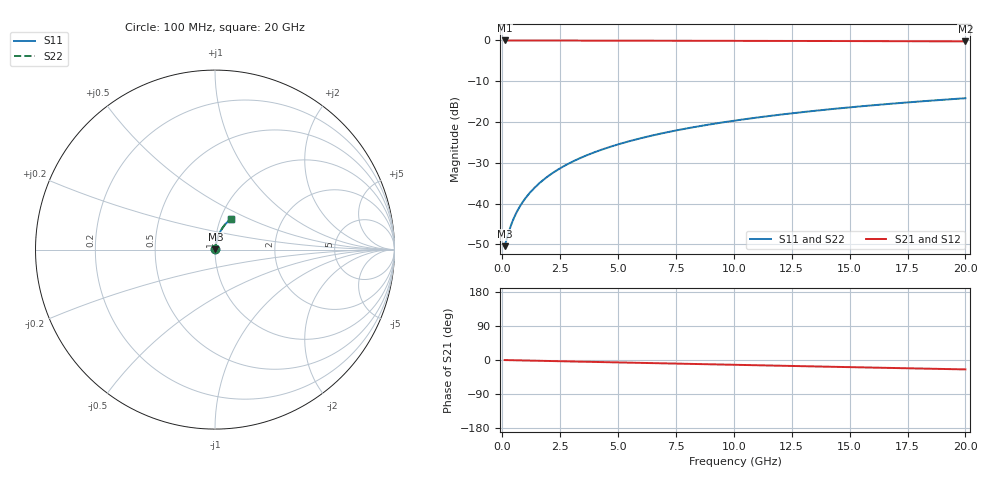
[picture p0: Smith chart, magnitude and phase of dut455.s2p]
! Touchstone file exported from HFSS 2026.1.0
!  File:  C:/ffzhzh/LocalFiles/Ansys_Project_Files/temp_train_TMRDL_455_1783005885_55676.aedt
!  Generated:  11:26:04 PM Jul  2, 2026
!  Design:  TMRDL
!  Project:  temp_train_TMRDL_455_1783005885_55676
! Variables:
!  h_bsmrdl = 2um
!  h_ox = 20um
!  h_rdl = 5um
!  h_sub = 80um
!  h_tmrdl = 2.81um
!  h_tsv = 80um
!  h_via = 3um
!  l_bsmrdl = 300um
!  l_sub = 774.54um
!  l_tmrdl = 374.54um
!  m_sub = 200um
!  pitch = 32.73um
!  r_tsv = 6um
!  s_tmrdl = 10um
!  w_bsmrdl = 18um
!  w_sub = 500um
!  w_tmrdl = 18.99um
!  x_tsv_center1 = 384.035um
!  x_tsv_center2 = 702.035um
!  x_tsv_center3 = 1095.565um
!  x_tsv_center4 = 1413.565um
!  x_tsv_center5 = 1807.095um
!  x_tsv_center6 = 2125.095um
# GHz S MA R 50.000000
! Terminal data exported
! Port[1] = TM_RDL1_1_T1
! Port[2] = TM_RDL1_1_T2
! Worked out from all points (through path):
!   200 points, 100 MHz to 20 GHz, reference 50 ohm
!   highest |S21| = -0.02 dB at 100 MHz (marker M1); lowest = -0.3 dB at 20 GHz (marker M2)
!   group delay of S21, straight-line fit = 3.45 ps
!   lowest |S11| = -50.5 dB at 100 MHz (marker M3), VSWR 1.01, Z = 50.3 + j0.125 ohm
!   |S11| at or under -10 dB: start of sweep to end of sweep
!   |S22| runs from -50.5 to -14.2 dB; largest |S21 - S12| = 5.1e-15
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0.1  0.003001 24.5  0.9973 -0.1  0.9973 -0.1  0.003001 24.5
! Gamma 0 0 0 0
! Port Impedance 50 0 50 0
0.3  0.004672 50.6  0.9971 -0.4  0.9971 -0.4  0.004672 50.6
0.4  0.005653 56.7  0.9969 -0.5  0.9969 -0.5  0.005653 56.7
0.5  0.006645 60.8  0.9968 -0.7  0.9968 -0.7  0.006645 60.8
0.6  0.007637 63.8  0.9967 -0.8  0.9967 -0.8  0.007637 63.8
0.7  0.008629 66.2  0.9966 -0.9  0.9966 -0.9  0.008629 66.2
0.9  0.01062 69.7  0.9965 -1.2  0.9965 -1.2  0.01062 69.7
1.2  0.01364 73.2  0.9963 -1.6  0.9963 -1.6  0.01364 73.2
1.4  0.01568 74.7  0.9962 -1.8  0.9962 -1.8  0.01568 74.7
1.7  0.01876 76.3  0.9961 -2.2  0.9961 -2.2  0.01876 76.3
2.2  0.02394 77.9  0.9959 -2.8  0.9959 -2.8  0.02394 77.9
2.8  0.03019 78.8  0.9956 -3.6  0.9956 -3.6  0.03019 78.8
3.5  0.03749 79.2  0.9952 -4.5  0.9952 -4.5  0.03749 79.2
4.2  0.04478 79.1  0.9947 -5.4  0.9947 -5.4  0.04478 79.1
5  0.05307 78.7  0.994 -6.4  0.994 -6.4  0.05307 78.7
5.9  0.06234 78.0  0.9932 -7.5  0.9932 -7.5  0.06234 78.0
6.8  0.07153 77.2  0.9922 -8.7  0.9922 -8.7  0.07153 77.2
8.3  0.08664 75.6  0.9905 -10.6  0.9905 -10.6  0.08664 75.6
10.1  0.1044 73.7  0.9881 -12.8  0.9881 -12.8  0.1044 73.7
13.4  0.1361 69.9  0.9831 -16.9  0.9831 -16.9  0.1361 69.9
16.7  0.1664 66.1  0.9774 -20.9  0.9774 -20.9  0.1664 66.1
20  0.1954 62.4  0.9712 -24.9  0.9712 -24.9  0.1954 62.4
